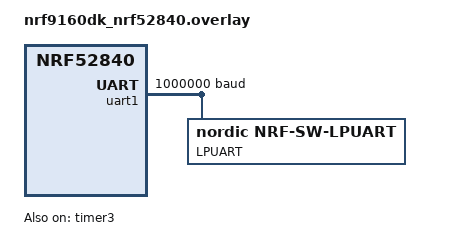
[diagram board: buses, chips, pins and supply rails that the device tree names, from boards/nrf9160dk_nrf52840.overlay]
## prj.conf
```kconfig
#
# Copyright (c) 2021 Nordic Semiconductor
#
# SPDX-License-Identifier: LicenseRef-Nordic-5-Clause
#
CONFIG_ZTEST=y
CONFIG_NRF_SW_LPUART=y
CONFIG_NRF_SW_LPUART_MAX_PACKET_SIZE=4

#CONFIG_TEST_RANDOM_GENERATOR=y
CONFIG_ENTROPY_GENERATOR=y
CONFIG_RING_BUFFER=y

CONFIG_USE_SEGGER_RTT=n
CONFIG_LOG=y
CONFIG_LOG_MODE_DEFERRED=y
CONFIG_TEST_LOGGING_DEFAULTS=n
CONFIG_LOG_BUFFER_SIZE=4096
CONFIG_NO_OPTIMIZATIONS=y
CONFIG_CORTEX_M_DEBUG_NULL_POINTER_EXCEPTION_DETECTION_NONE=y
CONFIG_ASSERT=y
#CONFIG_NRF_SW_LPUART_LOG_LEVEL_DBG=y
CONFIG_LOG_PROCESS_THREAD_STACK_SIZE=2048
CONFIG_PPI_TRACE=y
```

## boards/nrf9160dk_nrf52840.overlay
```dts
/* SPDX-License-Identifier: Apache-2.0 */

#include <nrf9160dk_nrf52840_reset_on_if5.dtsi>

#include <nrf9160dk_uart1_on_if0_3.dtsi>

&uart1 {
	current-speed = <1000000>;
	/delete-property/ rts-pin;
	/delete-property/ cts-pin;

	lpuart: nrf-sw-lpuart {
		compatible = "nordic,nrf-sw-lpuart";
		status = "okay";
		label = "LPUART";
		req-pin = <15>; /* <&interface_to_nrf9160 2 0>; */
		rdy-pin = <22>; /* <&interface_to_nrf9160 3 0>; */
	};
};

&gpiote {
	interrupts = <6 NRF_DEFAULT_IRQ_PRIORITY>;
};

/* Disabling uart rx pin to get low power */
&uart0 {
	/delete-property/ rx-pin;
};

&timer3 {
	status = "ok";
	interrupts = <26 0>;
};

/ {
	chosen {
		zephyr,busy-sim-counter=&timer3;
	};
};
```

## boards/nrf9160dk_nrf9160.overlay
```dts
#include <nrf9160dk_nrf52840_reset_on_if5.dtsi>

&gpiote {
	interrupts = <13 NRF_DEFAULT_IRQ_PRIORITY>;
};

&uart2 {
	current-speed = <1000000>;
	status = "okay";
	tx-pin = <18>; /* <&interface_to_nrf52840 1 0>; */
	rx-pin = <17>; /* <&interface_to_nrf52840 0 0>; */
	//rx-pin = <10>;
	//tx-pin = <11>;
	/delete-property/ rts-pin;
	/delete-property/ cts-pin;
	/delete-property/ hw-flow-control;

	lpuart: nrf-sw-lpuart {
		compatible = "nordic,nrf-sw-lpuart";
		status = "okay";
		label = "LPUART";
		req-pin = <21>; /* <&interface_to_nrf52840 3 0>; */
		rdy-pin = <19>; /* <&interface_to_nrf52840 2 0>; */
		//req-pin = <12>;
		//rdy-pin = <13>;
	};
};

&timer0 {
	interrupts = <15 0>;
};

/ {
	chosen {
		zephyr,busy-sim-counter=&timer0;
	};
};
```

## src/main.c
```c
/*
 * Copyright (c) 2021 Nordic Semiconductor ASA
 *
 * SPDX-License-Identifier: LicenseRef-Nordic-5-Clause
 */
#include <kernel.h>
#include <drivers/uart.h>
#include <ztest.h>
#include <random/rand32.h>
#include "busy_sim.h"
#include <logging/log.h>
LOG_MODULE_REGISTER(test);

static uint32_t tx_req_cnt;
static uint32_t tx_done_cnt;
static uint32_t tx_abort_cnt;
static uint32_t rx_cnt;
static volatile bool test_kill;
static volatile bool test_err;
static uint8_t rx_buf[5];
static bool buf_released;
static int test_time;

#define TEST_TIME_SEC 10

static void kill_timer_handler(struct k_timer *timer)
{
	ARG_UNUSED(timer);

	TC_PRINT("TX_DONE: %d, RX_CNT:%d\n", tx_done_cnt, rx_cnt);
	test_time++;
	if (test_time == TEST_TIME_SEC) {
		test_kill = true;
	}
}

static void report_error(void);

static void wdt_timer_handler(struct k_timer *timer)
{
	ARG_UNUSED(timer);
	TC_PRINT("Watchdog timer.\n");
	report_error();
}

static K_TIMER_DEFINE(kill_timer, kill_timer_handler, NULL);
static K_TIMER_DEFINE(wdt_timer, wdt_timer_handler, NULL);
static K_SEM_DEFINE(test_sem, 0, 1);


static void report_error(void)
{
	test_err = true;
	test_kill = true;
	k_timer_stop(&wdt_timer);
	k_sem_give(&test_sem);
}

static bool is_kill_packet(const uint8_t *buf, size_t len)
{
	uint8_t kill_packet[] = {0xFF, 0xFF, 0xFF, 0xFF};

	return (len == sizeof(kill_packet)) && (memcmp(buf, kill_packet, len) == 0);
}

static void next_tx(const struct device *dev)
{
	static uint8_t tx_buf[4];
	static size_t tx_len;

	if (test_kill) {
		memset(tx_buf, 0xFF, sizeof(tx_buf));
		tx_len = 4;
	} else {
		tx_len++;
		tx_len = (tx_len > 4) ? 1 : tx_len;
		tx_buf[0]++;
	}

	tx_req_cnt++;
	int err = uart_tx(dev, tx_buf, tx_len, 10000);
	if (err != 0) {
		TC_PRINT("uart_tx returned err:%d\n", err);
		report_error();
	}
}

static void on_tx_done(const struct device *dev, struct uart_event *evt)
{
	tx_done_cnt++;

	if (is_kill_packet(evt->data.tx.buf, evt->data.tx.len)) {
		k_sem_give(&test_sem);
		return;
	}

	next_tx(dev);
}

static void on_rx_rdy(const struct device *dev, struct uart_event *evt)
{
	uint8_t id = evt->data.rx.buf[0];
	uint8_t exp_id;

	k_timer_stop(&wdt_timer);

	if (is_kill_packet(evt->data.rx.buf, evt->data.rx.len)) {
		return;
	}

	rx_cnt++;
	exp_id = (uint8_t)rx_cnt;

	if (id != exp_id) {
		LOG_ERR("Got: %d (0x%02x), exp: %d (0x%02x)", id, id, exp_id, exp_id);
		//TC_PRINT("Got: %d, exp: %d\n", id, exp_id);
		report_error();
	} else {
		k_timer_start(&wdt_timer, K_MSEC(500), K_NO_WAIT);
	}
}

static void on_rx_buf_req(const struct device *dev)
{

	int err;

	if (!buf_released) {
		TC_PRINT("Requested buffer before releasing previous one\n");
		report_error();
	}

	buf_released = false;
	err = uart_rx_buf_rsp(dev, rx_buf, sizeof(rx_buf));
	if (err != 0) {
		TC_PRINT("uart_rx_buf_rsp returned err: %d\n", err);
		report_error();
	}
}

static void uart_callback(const struct device *dev,
			  struct uart_event *evt, void *user_data)
{
	switch (evt->type) {
	case UART_TX_DONE:
		on_tx_done(dev, evt);
		break;

	case UART_TX_ABORTED:
		tx_abort_cnt++;
		TC_PRINT("Unexpected TX aborted.\n");
		report_error();
		break;

	case UART_RX_RDY:
		on_rx_rdy(dev, evt);
		break;

	case UART_RX_BUF_REQUEST:
		on_rx_buf_req(dev);
		break;

	case UART_RX_BUF_RELEASED:
		buf_released = true;
		break;

	case UART_RX_DISABLED:
		TC_PRINT("Unexpected RX disabled event.\n");
		report_error();
		break;

	case UART_RX_STOPPED:
		TC_PRINT("Unexpected RX stopped event.\n");
		report_error();
		break;
	}
}

int __weak bt_hci_transport_setup(const struct device *h4)
{
	return 0;
}

#include <debug/ppi_trace.h>
#include <hal/nrf_gpio.h>

static void test_async_api_stress(void)
{
	const struct device *lpuart = DEVICE_DT_GET(DT_NODELABEL(lpuart));
	int err;

	/*nrf_gpio_cfg_output(10);*/
	/*nrf_gpio_cfg_output(11);*/
	/*nrf_gpio_cfg_output(12);*/
	/*nrf_gpio_cfg_output(13);*/
	/*nrf_gpio_cfg_output(20);*/
	/*ppi_trace_enable(ppi_trace_config(13, (uint32_t)&NRF_UARTE2->EVENTS_ENDRX));*/
	(void)bt_hci_transport_setup(NULL);

//	if (!IS_ENABLED(CONFIG_BOARD_NRF9160DK_NRF52840))
	{
		busy_sim_start(500, 400, 600, 550);
	}

	zassert_true(device_is_ready(lpuart), NULL);

	uart_callback_set(lpuart, uart_callback, NULL);

	buf_released = false;
	err = uart_rx_enable(lpuart, rx_buf, sizeof(rx_buf), 100);
	zassert_equal(err, 0, NULL);

	if (!IS_ENABLED(CONFIG_BOARD_NRF9160DK_NRF52840)) {
		k_msleep(1000);
	}

	k_timer_start(&kill_timer, K_MSEC(1000), K_MSEC(1000));
	k_timer_start(&wdt_timer, K_MSEC(1000), K_NO_WAIT);

	next_tx(lpuart);

	err = k_sem_take(&test_sem, K_MSEC(1000 * TEST_TIME_SEC + 100));
	k_timer_stop(&wdt_timer);
	k_timer_stop(&kill_timer);
	zassert_equal(err, 0, NULL);
	zassert_false(test_err, NULL);
	zassert_equal(tx_req_cnt, tx_done_cnt, NULL);

	k_msleep(100);
}

void test_main(void)
{
	ztest_test_suite(lpuart_test,
			 ztest_unit_test(test_async_api_stress)
			);
	ztest_run_test_suite(lpuart_test);
}
```

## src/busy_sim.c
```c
/*
 * Copyright (c) 2021 Nordic Semiconductor ASA
 *
 * SPDX-License-Identifier: LicenseRef-Nordic-5-Clause
 */
#include <drivers/entropy.h>
#include <drivers/counter.h>
#include "busy_sim.h"
#include <hal/nrf_gpio.h>
#include <sys/ring_buffer.h>

struct busy_sim {
	uint32_t idle_avg;
	uint32_t active_avg;
	uint16_t idle_delta;
	uint16_t active_delta;
	uint32_t us_tick;
	const struct device *entropy;
	const struct device *counter;
	struct counter_alarm_cfg alarm_cfg;
	int8_t pin;
};

static struct busy_sim sim;

#define BUFFER_SIZE 32
RING_BUF_DECLARE(rbuf, BUFFER_SIZE);
static void rng_pool_work_handler(struct k_work *work)
{
	uint8_t *data;
	uint32_t len;

	len = ring_buf_put_claim(&rbuf, &data, BUFFER_SIZE - 1);
	if (len) {
		int err = entropy_get_entropy(sim.entropy, data, len);

		if (err == 0) {
			ring_buf_put_finish(&rbuf, len);
			return;
		}
	}

	k_work_submit(work);
}

static K_WORK_DEFINE(rng_pool_work, rng_pool_work_handler);

static uint32_t get_timeout(bool idle)
{
	uint32_t avg = idle ? sim.idle_avg : sim.active_avg;
	uint32_t delta = idle ? sim.idle_delta : sim.active_delta;
	uint16_t rand;
	uint32_t len;

	len = ring_buf_get(&rbuf, (uint8_t *)&rand, sizeof(rand));
	if (len < sizeof(rand)) {
		k_work_submit(&rng_pool_work);
	}

	avg *= sim.us_tick;
	delta *= sim.us_tick;

	return avg - delta + 2 * (rand % delta);
}


#define TEST_PIN -1//10
void counter_alarm_callback(const struct device *dev,
			    uint8_t chan_id, uint32_t ticks,
			    void *user_data)
{
	int err;

	sim.alarm_cfg.ticks = get_timeout(true);

	/* Busy loop */
	if (TEST_PIN >= 0) {
		nrf_gpio_pin_set(TEST_PIN);
	}

	k_busy_wait(get_timeout(false) / sim.us_tick);

	if (TEST_PIN >= 0) {
		nrf_gpio_pin_clear(TEST_PIN);
	}

	err = counter_set_channel_alarm(sim.counter, 0, &sim.alarm_cfg);
	__ASSERT_NO_MSG(err == 0);

}

void busy_sim_start(uint32_t active_avg, uint32_t active_delta,
		    uint32_t idle_avg, uint32_t idle_delta)
{
	int err;

	sim.active_avg = active_avg;
	sim.active_delta = active_delta;
	sim.idle_avg = idle_avg;
	sim.idle_delta = idle_delta;

	k_work_submit(&rng_pool_work);

	sim.alarm_cfg.ticks = counter_us_to_ticks(sim.counter, 100);
	err = counter_set_channel_alarm(sim.counter, 0, &sim.alarm_cfg);
	__ASSERT_NO_MSG(err == 0);

	err = counter_start(sim.counter);
	__ASSERT_NO_MSG(err == 0);
}

void busy_sim_stop(void)
{
	k_work_cancel(&rng_pool_work);

	int err = counter_stop(sim.counter);
	__ASSERT_NO_MSG(err == 0);
}

static int busy_sim_init(const struct device *unused)
{
	ARG_UNUSED(unused);
	uint32_t freq;

	if (TEST_PIN >= 0) {
		nrf_gpio_cfg_output(TEST_PIN);
	}

	sim.counter = DEVICE_DT_GET(DT_CHOSEN(zephyr_busy_sim_counter));
	if (!device_is_ready(sim.counter)) {
		return -EIO;
	}

	freq = counter_get_frequency(sim.counter);
	if (freq < 1000000) {
		return -EINVAL;
	}

	sim.us_tick = freq / 1000000;
	sim.alarm_cfg.callback = counter_alarm_callback;
	sim.alarm_cfg.flags = COUNTER_ALARM_CFG_EXPIRE_WHEN_LATE;

	sim.entropy = device_get_binding(DT_CHOSEN_ZEPHYR_ENTROPY_LABEL);
	if (!device_is_ready(sim.entropy)) {
		return -EIO;
	}

	return 0;
}

SYS_INIT(busy_sim_init, APPLICATION, 0);
```

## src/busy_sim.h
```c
/*
 * Copyright (c) 2021 Nordic Semiconductor ASA
 *
 * SPDX-License-Identifier: LicenseRef-Nordic-5-Clause
 */
#ifndef BUSY_SIM_H__
#define BUSY_SIM_H__

void busy_sim_start(uint32_t active_avg, uint32_t active_delta,
			  uint32_t idle_avg, uint32_t idle_delta);

void busy_sim_stop(void);

#endif /* BUSY_SIM_H__ */
```
